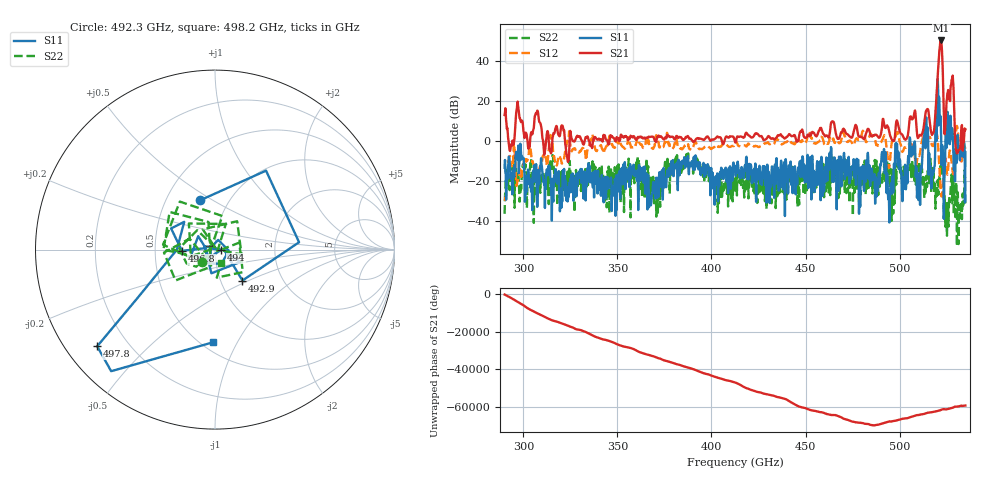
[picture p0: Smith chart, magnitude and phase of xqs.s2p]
!Created with skrf (http://scikit-rf.org).
# GHz S RI R 50.0
!freq ReS11 ImS11 ReS21 ImS21 ReS12 ImS12 ReS22 ImS22
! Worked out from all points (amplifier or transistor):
!   1201 points, 290 GHz to 535 GHz, reference 50 ohm
!   highest |S21| = 50.0 dB at 522.1 GHz (marker M1)
!   |S21| within 3 dB of that: 521.393 GHz to 522.4016 GHz (1.009 GHz wide, 0.193 % of centre)
!   unconditionally stable (mu >= 1): 306.4 GHz to 314.2 GHz; 315.9 GHz to 324.3 GHz; 325.2 GHz to 334 GHz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
!   at 330.8 GHz: K = 1.08, MAG = 0.8 dB, |S12| = -4.4 dB
!   at 412.5 GHz: K = 0.98, MSG = 0.3 dB, |S12| = -1.0 dB
!   at 535 GHz: K = 0.92, MSG = 4.8 dB, |S12| = -3.9 dB
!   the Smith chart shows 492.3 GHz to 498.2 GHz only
!   S11 on the Smith chart (normalised r, x): 492.3 GHz: 0.74, +0.44; 492.9 GHz: 1.27, -0.46; 494 GHz: 1.07, -0.00; 496.8 GHz: 0.69, -0.01; 497.8 GHz: 0.09, -0.36; 498.2 GHz: 0.57, -0.80
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290  -0.0347 0.2138  2.827 -3.424  0.000501 0.033  -0.00889 -0.0127
331.0375  0.1121 0.1672  -0.9968 0.2213  0.6262 -0.0457  -0.1769 -0.0393
371.6667  0.0556 -0.00694  -0.8463 1.05  -0.6067 0.7684  -0.00264 0.0692
412.5  0.1419 -0.1903  -0.288 0.9088  -0.655 0.6119  0.0801 0.0849
453.5375  0.4231 -0.082  -0.4694 -1.613  -0.2371 0.9918  -0.1617 -0.2122
492.3292  -0.0816 0.2753  -1.86 1.073  1.293 0.1103  -0.0729 -0.0715
492.9417  0.1529 -0.1723  2.256 0.1023  0.4486 -0.6761  0.0414 0.1871
493.9625  0.0355 -0.000984  2.131 -0.5852  0.1187 -0.2513  -0.022 -0.0947
494.1667  -0.024 -0.0395  1.232 1.579  -0.1761 0.1541  -0.2202 -0.1721
496.8208  -0.184 -0.00697  0.943 -0.3511  0.4195 -0.9247  -0.0682 0.1129
497.8417  -0.6564 -0.5389  -1.779 0.7802  -1.191 0.3556  0.1553 -0.1256
498.25  -0.0105 -0.5163  0.9149 -2.895  1.161 -1.015  0.0353 -0.0748
519.8917  4.963 13.96  -19.67 -3.266  -1.059 -0.9966  -0.0367 0.0081
520.3  27.18 23.29  42.27 -11.58  1.055 -0.077  -0.025 0.1036
520.7083  -1.83 1.618  -7.378 80.62  -0.4677 0.2257  -0.0286 0.0367
521.1167  -0.4256 11.53  -164 14.99  0.1698 -0.1422  0.0729 0.1217
522.1375  0.9076 0.6379  -198.6 -246.3  0.0242 -0.0362  0.0269 0.1533
522.75  0.6672 0.4046  8.22 108.6  -0.0167 -0.0533  -0.0154 0.1811
523.1583  0.0232 -0.35  -26.51 3.376  0.0853 0.0313  -0.1219 0.1818
523.5667  0.00216 -0.0115  -3.663 -1.091  -0.1557 0.0256  -0.00295 -0.0114
524.1792  0.2212 -0.0811  0.0473 1.772  0.205 -0.2787  0.0164 0.0081
535  -0.4015 -0.3465  1.937 -0.1872  0.5016 -0.3985  -0.0179 -0.0149
